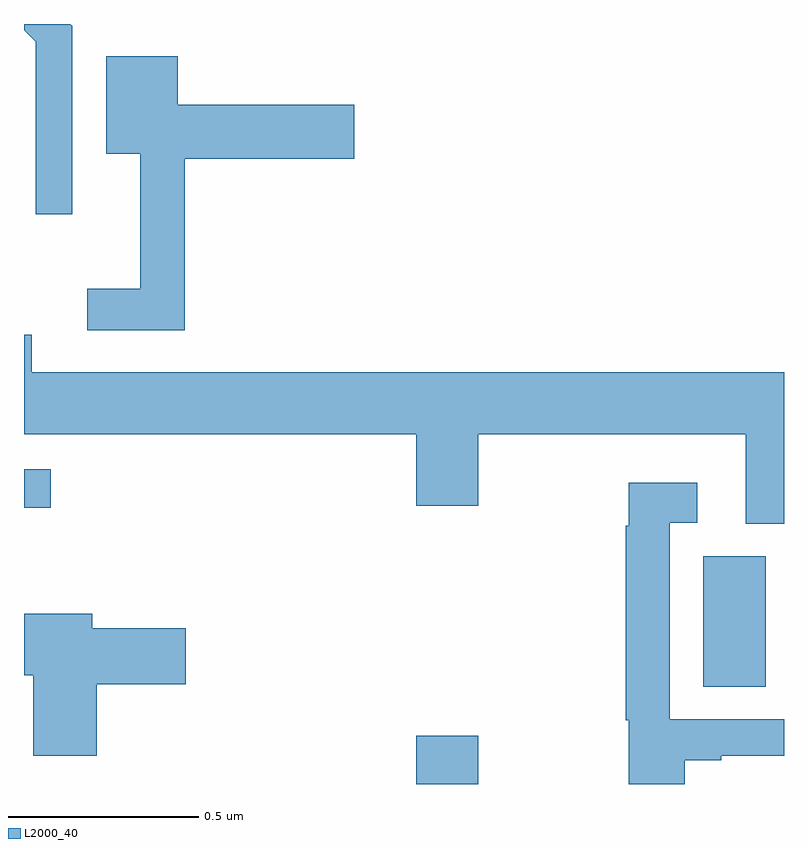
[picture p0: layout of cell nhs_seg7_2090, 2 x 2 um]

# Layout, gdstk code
import gdstk
lib = gdstk.Library(unit=1e-6, precision=1e-09)
def R(c, l, rs):  # rectangles x0, y0, x1, y1
    for r in rs: c.add(gdstk.rectangle(r[:2], r[2:], *l))
def P(c, l, *ps):  # polygons
    for p in ps: c.add(gdstk.Polygon(p, *l))
L2000_40 = (2000, 40)

nhs_seg7_2090 = lib.new_cell('nhs_seg7_2090')
R(nhs_seg7_2090, L2000_40, [(141.032,1029,141.196,1029.127), (141.788,1029.256,141.952,1029.6), (140,1029.727,140.071,1029.828)])
P(nhs_seg7_2090, L2000_40, [(140.127,1030.995),(140.122,1031),(140,1031),(140,1030.984),(140.031,1030.953),(140.031,1030.5),(140.127,1030.5)],
  [(140.423,1030.646),(140.869,1030.646),(140.869,1030.788),(140.404,1030.788),(140.404,1030.915),(140.216,1030.915),(140.216,1030.658),(140.306,1030.658),(140.306,1030.303),(140.166,1030.303),(140.166,1030.194),(140.423,1030.194)],
  [(142,1030.084),(140.02,1030.084),(140.02,1030.182),(140,1030.182),(140,1029.92),(141.032,1029.92),(141.032,1029.732),(141.196,1029.732),(141.196,1029.92),(141.899,1029.92),(141.899,1029.685),(142,1029.685)],
  [(141.739,1029.063),(141.835,1029.063),(141.835,1029.075),(142,1029.075),(142,1029.171),(141.699,1029.171),(141.699,1029.687),(141.772,1029.687),(141.772,1029.793),(141.591,1029.793),(141.591,1029.68),(141.583,1029.68),(141.583,1029.168),(141.591,1029.168),(141.591,1029),(141.739,1029)],
  [(140.192,1029.263),(140.425,1029.263),(140.425,1029.41),(140.179,1029.41),(140.179,1029.448),(140,1029.448),(140,1029.286),(140.024,1029.286),(140.024,1029.075),(140.192,1029.075)])

lib.write_gds('nhs_seg7_2090.gds')
